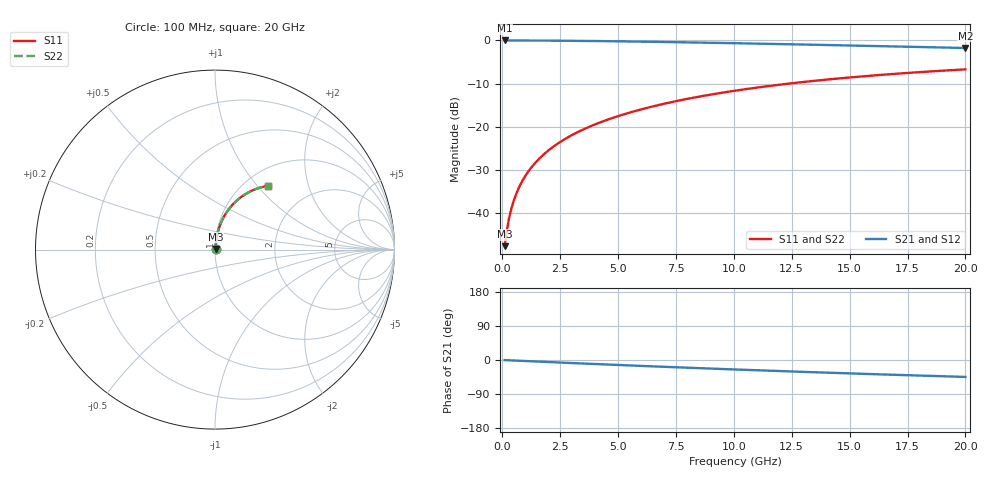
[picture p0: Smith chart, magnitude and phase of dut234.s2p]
! Touchstone file exported from HFSS 2024.1.0
!  File:  C:/UserFiles/LocalFiles/RDL_TSV_Batchsim/temp_RDL_bottom_234_1778700978.aedt
!  Generated:  03:38:39 AM May 14, 2026
!  Design:  RDL_bottom
!  Project:  temp_RDL_bottom_234_1778700978
!  Setup:  Setup1
!  Solution:  Sweep
! Variables:
!  dtsv = 10.80580581um
!  hbump = 3um
!  htsv = 80.5um
!  ldown = 586.06um
!  lrdl = 100um
!  p = 40
!  p1 = 56.55um
!  rhole = 1um
!  t = 450um
!  tdown = 4.3um
!  trdl = 3.915915916um
!  wdown = 16.44um
!  wrdl = 20um
# GHz S MA R 50.000000
! Terminal data exported
! Port[1] = RDL1_T1
! Port[2] = RDL1_T2
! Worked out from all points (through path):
!   200 points, 100 MHz to 20 GHz, reference 50 ohm
!   highest |S21| = -0.03 dB at 100 MHz (marker M1); lowest = -1.8 dB at 20 GHz (marker M2)
!   group delay of S21, straight-line fit = 6.19 ps
!   lowest |S11| = -47.7 dB at 100 MHz (marker M3), VSWR 1.01, Z = 50.3 + j0.28 ohm
!   |S11| at or under -10 dB: start of sweep to 12.41 GHz
!   |S22| runs from -47.7 to -6.7 dB; largest |S21 - S12| = 3.9e-15
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0.1  0.004129 42.4  0.9969 -0.3  0.9969 -0.3  0.004129 42.4
! Gamma 0 0 0 0
! Port Impedance 50 0 50 0
0.2  0.006372 60.4  0.9968 -0.6  0.9968 -0.6  0.006372 60.4
0.3  0.00888 68.2  0.9967 -0.8  0.9967 -0.8  0.00888 68.2
0.4  0.01145 72.5  0.9965 -1.1  0.9965 -1.1  0.01145 72.5
0.5  0.01403 75.1  0.9964 -1.4  0.9964 -1.4  0.01403 75.1
0.6  0.01662 76.9  0.9962 -1.6  0.9962 -1.6  0.01662 76.9
0.8  0.02181 79.1  0.9958 -2.2  0.9958 -2.2  0.02181 79.1
1.1  0.02964 80.9  0.9952 -3.0  0.9952 -3.0  0.02964 80.9
1.5  0.04013 81.9  0.9942 -4.1  0.9942 -4.1  0.04013 81.9
1.8  0.04802 82.2  0.9932 -4.9  0.9932 -4.9  0.04802 82.2
2.1  0.05593 82.3  0.9921 -5.7  0.9921 -5.7  0.05593 82.3
2.7  0.07177 82.0  0.9894 -7.2  0.9894 -7.2  0.07177 82.0
3.5  0.09291 81.1  0.9849 -9.3  0.9849 -9.3  0.0929 81.1
4.2  0.1114 80.1  0.9804 -11.1  0.9804 -11.1  0.1114 80.1
5  0.1325 78.8  0.9744 -13.1  0.9744 -13.1  0.1325 78.8
5.9  0.1561 77.3  0.967 -15.4  0.967 -15.4  0.156 77.3
6.8  0.1795 75.6  0.959 -17.5  0.959 -17.5  0.1794 75.6
8.4  0.2203 72.5  0.9435 -21.3  0.9435 -21.3  0.2203 72.5
10.1  0.2623 69.2  0.9259 -25.1  0.9259 -25.1  0.2623 69.1
13.4  0.338 62.6  0.8897 -32.2  0.8897 -32.2  0.3379 62.6
16.7  0.4045 56.3  0.8524 -38.7  0.8524 -38.7  0.4044 56.2
20  0.4613 50.4  0.8156 -44.7  0.8156 -44.7  0.4612 50.3
